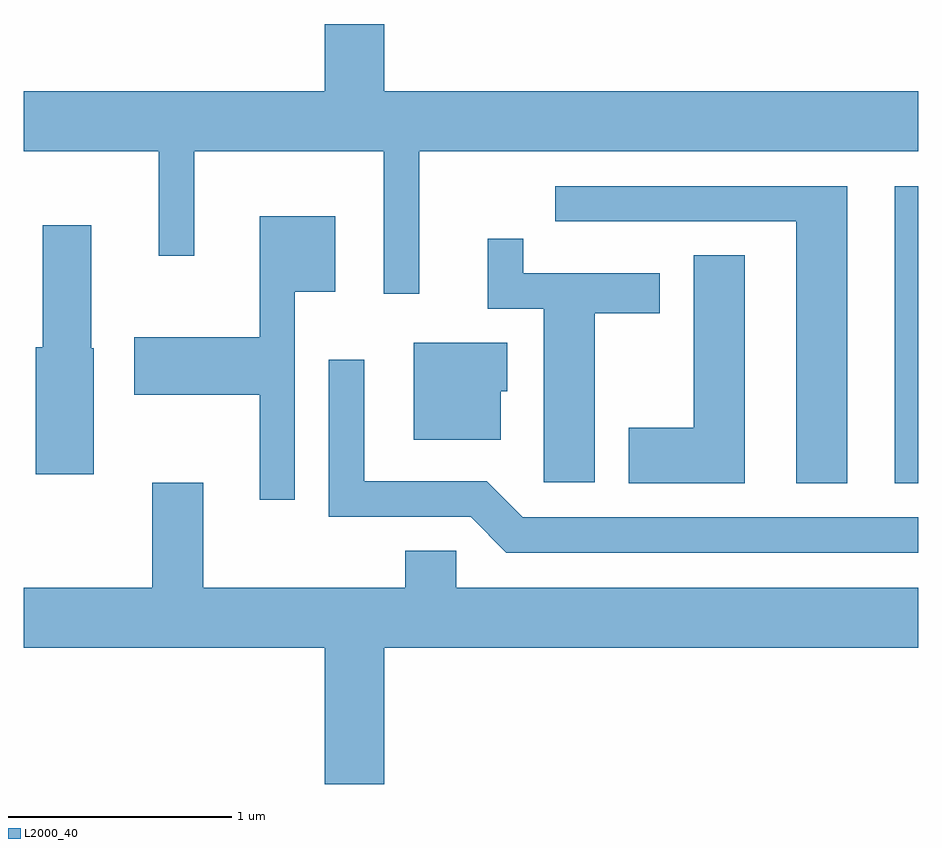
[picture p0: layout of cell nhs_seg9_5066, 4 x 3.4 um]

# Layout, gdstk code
import gdstk
lib = gdstk.Library(unit=1e-6, precision=1e-09)
def R(c, l, rs):  # rectangles x0, y0, x1, y1
    for r in rs: c.add(gdstk.rectangle(r[:2], r[2:], *l))
def P(c, l, *ps):  # polygons
    for p in ps: c.add(gdstk.Polygon(p, *l))
L2000_40 = (2000, 40)

nhs_seg9_5066 = lib.new_cell('nhs_seg9_5066')
R(nhs_seg9_5066, L2000_40, [(337.506,2065.811,337.611,2067.139)])
P(nhs_seg9_5066, L2000_40, [(335.379,2067.296),(337.611,2067.296),(337.611,2067.564),(335.224,2067.564),(335.224,2067.864),(334.956,2067.864),(334.956,2067.564),(333.611,2067.564),(333.611,2067.296),(334.216,2067.296),(334.216,2066.827),(334.374,2066.827),(334.374,2067.296),(335.221,2067.296),(335.221,2066.658),(335.379,2066.658)],
  [(337.294,2067.139),(335.988,2067.139),(335.988,2066.981),(337.066,2066.981),(337.066,2065.811),(337.294,2065.811)],
  [(334.824,2066.666),(335.004,2066.666),(335.004,2067.004),(334.666,2067.004),(334.666,2066.464),(334.106,2066.464),(334.106,2066.206),(334.666,2066.206),(334.666,2065.738),(334.824,2065.738)],
  [(333.924,2066.415),(333.914,2066.415),(333.914,2066.964),(333.696,2066.964),(333.696,2066.419),(333.666,2066.419),(333.666,2065.851),(333.924,2065.851)],
  [(336.164,2066.571),(336.454,2066.571),(336.454,2066.749),(335.844,2066.749),(335.844,2066.903),(335.686,2066.903),(335.686,2066.591),(335.936,2066.591),(335.936,2065.816),(336.164,2065.816)],
  [(336.834,2066.829),(336.606,2066.829),(336.606,2066.059),(336.316,2066.059),(336.316,2065.811),(336.834,2065.811)],
  [(335.744,2066.221),(335.774,2066.221),(335.774,2066.439),(335.356,2066.439),(335.356,2066.006),(335.744,2066.006)],
  [(337.611,2065.659),(335.842,2065.659),(335.682,2065.819),(335.134,2065.819),(335.134,2066.363),(334.976,2066.363),(334.976,2065.661),(335.609,2065.661),(335.769,2065.501),(337.611,2065.501)],
  [(335.224,2065.076),(337.611,2065.076),(337.611,2065.344),(335.544,2065.344),(335.544,2065.509),(335.316,2065.509),(335.316,2065.344),(334.414,2065.344),(334.414,2065.814),(334.186,2065.814),(334.186,2065.344),(333.611,2065.344),(333.611,2065.076),(334.956,2065.076),(334.956,2064.466),(335.224,2064.466)])

lib.write_gds('nhs_seg9_5066.gds')
